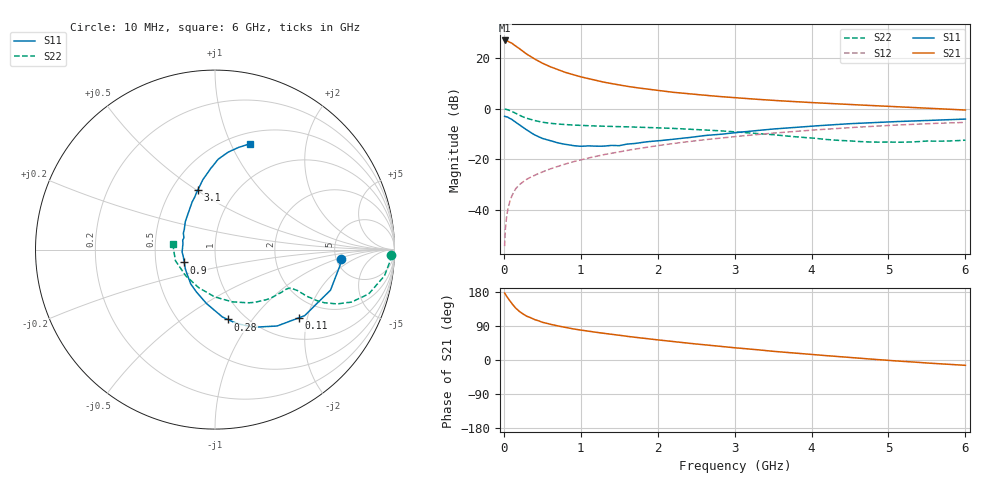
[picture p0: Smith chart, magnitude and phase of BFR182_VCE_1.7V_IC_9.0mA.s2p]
! Infineon Technologies  Discrete & RF Semiconductors
! BFR182
! VCE =  1.7 V,  IC =  9.0 mA
! Common Emitter S-Parameters:  Nov 2015
# GHz  S  MA  R  50
!  f  S11  S21  S12  S22
! GHz  MAG  ANG  MAG  ANG  MAG  ANG  MAG  ANG
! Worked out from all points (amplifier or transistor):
!   210 points, 10 MHz to 6 GHz, reference 50 ohm
!   highest |S21| = 27.0 dB at 10 MHz (marker M1)
!   |S21| within 3 dB of that: start of sweep to 191 MHz
!   unconditionally stable (mu >= 1): 779.2 MHz to 2.677 GHz
!   at 185 MHz: K = 0.49, MSG = 27.4 dB, |S12| = -30.6 dB
!   at 1.52 GHz: K = 1.06, MAG = 11.6 dB, |S12| = -16.9 dB
!   at 6 GHz: K = 0.90, MSG = 2.4 dB, |S12| = -5.4 dB
!   S11 on the Smith chart (normalised r, x): 10 MHz: 5.57, -1.12; 110 MHz: 1.49, -1.78; 280 MHz: 0.83, -0.77; 900 MHz: 0.70, -0.10; 3.1 GHz: 0.67, +0.51; 6 GHz: 0.62, +1.19
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0.01  0.7061 -4.1  22.41 176.7  0.0019 86.0  0.9805 -1.7
0.025  0.6964 -9.3  21.99 171.8  0.0051 80.9  0.9737 -4.5
0.05  0.6821 -19.3  21.78 164.0  0.0099 80.3  0.9555 -8.8
0.1  0.6203 -36.4  19.97 149.9  0.0182 73.6  0.891 -16.1
0.11  0.6031 -39.0  19.42 147.7  0.0196 72.3  0.8754 -17.0
0.15  0.5486 -50.9  17.57 137.6  0.0255 68.4  0.8156 -21.0
0.2  0.4833 -63.6  15.53 128.5  0.0311 66.5  0.7445 -24.0
0.24  0.4365 -71.9  13.93 122.7  0.0348 64.8  0.6982 -25.3
0.28  0.3958 -79.6  12.58 117.8  0.0384 64.5  0.661 -26.2
0.3  0.3777 -83.7  11.95 115.3  0.0402 64.5  0.6439 -26.5
0.4  0.3037 -99.1  9.65 106.7  0.0481 64.4  0.5816 -26.9
0.5  0.2586 -113.3  7.959 99.6  0.0558 65.4  0.5399 -26.7
0.6  0.2348 -125.0  6.798 94.5  0.064 65.9  0.514 -26.4
0.7  0.2114 -136.1  5.926 89.9  0.0719 66.2  0.497 -26.6
0.9  0.1858 -157.3  4.694 82.2  0.0888 66.9  0.4744 -26.9
1.02  0.1808 -168.4  4.2 78.4  0.0988 67.0  0.465 -27.6
1.4  0.1876 163.6  3.13 67.8  0.1312 66.6  0.4452 -31.1
2.02  0.2323 134.2  2.274 52.7  0.1874 62.6  0.417 -39.3
3.1  0.3461 106.1  1.61 30.6  0.2894 52.8  0.3395 -60.5
4.1  0.4614 92.0  1.298 12.9  0.3848 41.8  0.2537 -94.6
5.1  0.555 81.2  1.096 -2.4  0.4737 29.4  0.2172 -143.9
6  0.6224 71.5  0.941 -14.1  0.5354 16.8  0.2383 172.0
